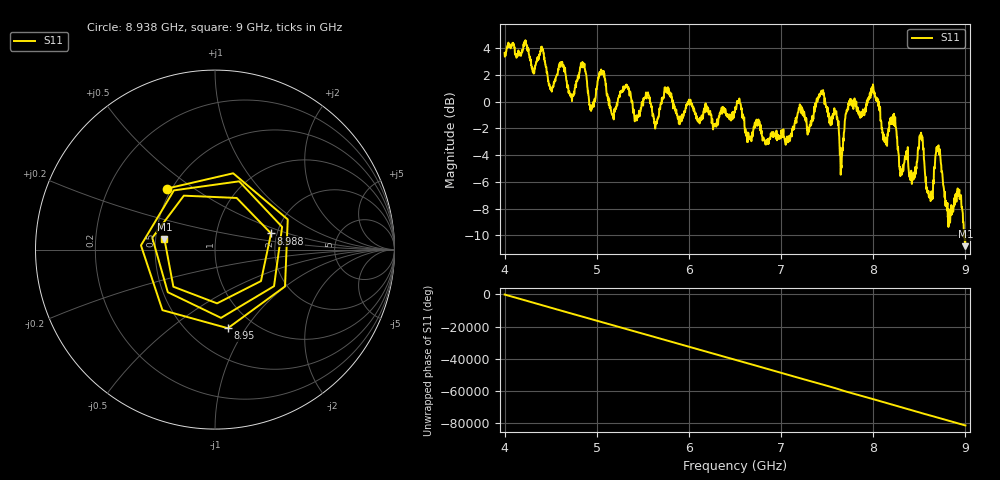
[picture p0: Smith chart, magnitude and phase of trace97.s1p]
! Created with skrf 1.8.0 (http://scikit-rf.org).
# Hz S RI R 50.0
!freq ReS11 ImS11
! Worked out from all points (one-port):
!   1601 points, 4 GHz to 9 GHz, reference 50 ohm
!   lowest |S11| = -10.8 dB at 9 GHz (marker M1), VSWR 1.81, Z = 27.8 + j3.58 ohm
!   |S11| at or under -10 dB: 8.983624 GHz to 8.985311 GHz (1.687 MHz wide, 0.0188 % of centre); 8.989791 GHz to end of sweep
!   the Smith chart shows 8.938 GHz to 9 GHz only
!   S11 on the Smith chart (normalised r, x): 8.938 GHz: 0.47, +0.40; 8.95 GHz: 0.76, -0.83; 8.988 GHz: 1.86, +0.37; 9 GHz: 0.56, +0.07
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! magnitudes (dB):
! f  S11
! 4 GHz  3.6
! 4.406 GHz  4.0
! 4.506 GHz  0.9
! 4.625 GHz  3.0
! 4.731 GHz  0.0
! 4.853 GHz  2.9
! 4.944 GHz  -0.4
! 5.05 GHz  2.0
! 5.166 GHz  -1.0
! 5.25 GHz  0.3
! 5.875 GHz  -1.1
! 6.5 GHz  -0.6
! 7.125 GHz  -2.1
! 7.444 GHz  0.7
! 7.656 GHz  -5.0
! 7.75 GHz  0.2
! 8.006 GHz  0.8
! 8.125 GHz  -2.7
! 8.222 GHz  -1.7
! 8.375 GHz  -3.4
! 8.522 GHz  -2.6
! 8.622 GHz  -7.4
! 8.703 GHz  -3.5
! 8.809 GHz  -8.6
! 8.938 GHz  -7.3
! 8.95 GHz  -7.1
! 8.988 GHz  -9.8
! 9 GHz  -10.8
